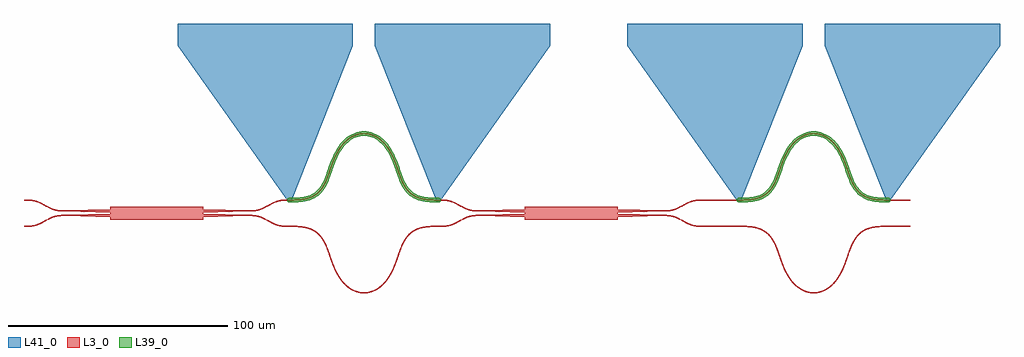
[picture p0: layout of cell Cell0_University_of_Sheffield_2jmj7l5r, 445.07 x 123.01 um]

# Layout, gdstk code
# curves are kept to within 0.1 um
import gdstk
lib = gdstk.Library(unit=1e-6, precision=1e-09)
def R(c, l, rs):  # rectangles x0, y0, x1, y1
    for r in rs: c.add(gdstk.rectangle(r[:2], r[2:], *l))
def P(c, l, *ps):  # polygons
    for p in ps: c.add(gdstk.Polygon(p, *l))
L3_0 = (3, 0)
L39_0 = (39, 0)
L41_0 = (41, 0)

cell0_university_of_shef = lib.new_cell('Cell0_University_of_Sheffield_2jmj7l5r')
P(cell0_university_of_shef, L3_0, [(18.997,37.355),(15.967,37.472),(14.05,37.823),(12.989,38.17),(11.966,38.601),(7.605,40.902),(5.87,41.647),(4.583,42.015),(3.524,42.194),(1.907,42.317),(0,42.34),(0,42.79),(3.027,42.699),(4.13,42.56),(5.221,42.322),(6.282,41.975),(7.305,41.544),(11.666,39.243),(13.401,38.498),(14.688,38.13),(15.747,37.951),(17.364,37.828),(19.271,37.805),(19.496,37.58),(19.271,37.355)],
  [(0,30.34),(0,30.79),(1.907,30.813),(3.524,30.936),(4.583,31.115),(5.87,31.483),(7.605,32.228),(11.966,34.529),(12.989,34.96),(14.05,35.307),(15.415,35.588),(17.071,35.74),(19.271,35.775),(19.496,35.55),(19.271,35.325),(17.364,35.302),(16.015,35.21),(14.688,35),(13.655,34.718),(11.666,33.887),(7.305,31.586),(6.282,31.155),(5.221,30.808),(4.13,30.57),(3.027,30.431)],
  [(394.084,42.34),(393.859,42.565),(394.084,42.79),(404.084,42.79),(404.084,42.34)],
  [(394.084,30.34),(393.859,30.565),(394.084,30.79),(404.084,30.79),(404.084,30.34)],
  [(310.084,30.34),(309.859,30.565),(310.084,30.79),(326.084,30.79),(326.309,30.565),(326.084,30.34)],
  [(310.084,42.34),(309.859,42.565),(310.084,42.79),(326.084,42.79),(326.309,42.565),(326.084,42.34)],
  [(101.771,37.355),(101.546,37.58),(101.771,37.805),(103.678,37.828),(105.295,37.951),(106.354,38.13),(107.641,38.498),(109.376,39.243),(113.737,41.544),(114.76,41.975),(115.821,42.322),(117.186,42.603),(118.843,42.755),(121.042,42.79),(121.267,42.565),(121.042,42.34),(119.135,42.317),(117.786,42.225),(116.459,42.015),(115.426,41.733),(113.437,40.902),(109.076,38.601),(108.053,38.17),(106.992,37.823),(105.901,37.585),(104.799,37.446)],
  [(120.769,30.34),(117.738,30.457),(115.821,30.808),(114.76,31.155),(113.737,31.586),(109.376,33.887),(107.387,34.718),(106.354,35),(105.027,35.21),(103.678,35.302),(101.771,35.325),(101.546,35.55),(101.771,35.775),(103.971,35.74),(105.627,35.588),(106.992,35.307),(108.053,34.96),(109.076,34.529),(113.437,32.228),(115.172,31.483),(116.459,31.115),(117.518,30.936),(119.135,30.813),(121.042,30.79),(121.267,30.565),(121.042,30.34)],
  [(101.771,37.355),(101.546,37.58),(101.771,37.805),(103.678,37.828),(105.295,37.951),(106.354,38.13),(107.641,38.498),(109.376,39.243),(113.737,41.544),(114.76,41.975),(115.821,42.322),(117.186,42.603),(118.843,42.755),(121.042,42.79),(121.267,42.565),(121.042,42.34),(119.135,42.317),(117.786,42.225),(116.459,42.015),(115.426,41.733),(113.437,40.902),(109.076,38.601),(108.053,38.17),(106.992,37.823),(105.901,37.585),(104.799,37.446)],
  [(120.769,30.34),(117.738,30.457),(115.821,30.808),(114.76,31.155),(113.737,31.586),(109.376,33.887),(107.387,34.718),(106.354,35),(105.027,35.21),(103.678,35.302),(101.771,35.325),(101.546,35.55),(101.771,35.775),(103.971,35.74),(105.627,35.588),(106.992,35.307),(108.053,34.96),(109.076,34.529),(113.437,32.228),(115.172,31.483),(116.459,31.115),(117.518,30.936),(119.135,30.813),(121.042,30.79),(121.267,30.565),(121.042,30.34)],
  [(39.271,33.565),(39.271,34.8),(19.271,35.325),(19.046,35.55),(19.271,35.775),(39.271,36.3),(39.271,36.83),(19.271,37.355),(19.046,37.58),(19.271,37.805),(39.271,38.33),(39.271,39.565),(81.771,39.565),(81.771,38.33),(101.771,37.805),(101.996,37.58),(101.771,37.355),(81.771,36.83),(81.771,36.3),(101.771,35.775),(101.996,35.55),(101.771,35.325),(81.771,34.8),(81.771,33.565)],
  [(290.813,37.355),(290.588,37.58),(290.813,37.805),(292.72,37.828),(294.337,37.951),(295.396,38.13),(296.683,38.498),(298.418,39.243),(302.779,41.544),(303.802,41.975),(304.863,42.322),(306.228,42.603),(307.885,42.755),(310.084,42.79),(310.309,42.565),(310.084,42.34),(308.177,42.317),(306.828,42.225),(305.501,42.015),(304.468,41.733),(302.479,40.902),(298.118,38.601),(297.095,38.17),(296.034,37.823),(294.943,37.585),(293.841,37.446)],
  [(309.811,30.34),(306.78,30.457),(304.863,30.808),(303.802,31.155),(302.779,31.586),(298.418,33.887),(296.429,34.718),(295.396,35),(294.069,35.21),(292.72,35.302),(290.813,35.325),(290.588,35.55),(290.813,35.775),(293.013,35.74),(294.669,35.588),(296.034,35.307),(297.095,34.96),(298.118,34.529),(302.479,32.228),(304.214,31.483),(305.501,31.115),(306.56,30.936),(308.177,30.813),(310.084,30.79),(310.309,30.565),(310.084,30.34)],
  [(208.039,37.355),(205.009,37.472),(203.092,37.823),(202.031,38.17),(201.008,38.601),(196.647,40.902),(194.658,41.733),(193.625,42.015),(192.298,42.225),(190.949,42.317),(189.042,42.34),(188.817,42.565),(189.042,42.79),(191.241,42.755),(192.898,42.603),(194.263,42.322),(195.324,41.975),(196.347,41.544),(200.708,39.243),(202.443,38.498),(203.73,38.13),(204.789,37.951),(206.406,37.828),(208.313,37.805),(208.538,37.58),(208.313,37.355)],
  [(189.042,30.34),(188.817,30.565),(189.042,30.79),(190.949,30.813),(192.566,30.936),(193.625,31.115),(194.912,31.483),(196.647,32.228),(201.008,34.529),(202.031,34.96),(203.092,35.307),(204.457,35.588),(206.113,35.74),(208.313,35.775),(208.538,35.55),(208.313,35.325),(206.406,35.302),(205.057,35.21),(203.73,35),(202.697,34.718),(200.708,33.887),(196.347,31.586),(195.324,31.155),(194.263,30.808),(193.172,30.57),(192.069,30.431)],
  [(290.813,37.355),(290.588,37.58),(290.813,37.805),(292.72,37.828),(294.337,37.951),(295.396,38.13),(296.683,38.498),(298.418,39.243),(302.779,41.544),(303.802,41.975),(304.863,42.322),(306.228,42.603),(307.885,42.755),(310.084,42.79),(310.309,42.565),(310.084,42.34),(308.177,42.317),(306.828,42.225),(305.501,42.015),(304.468,41.733),(302.479,40.902),(298.118,38.601),(297.095,38.17),(296.034,37.823),(294.943,37.585),(293.841,37.446)],
  [(309.811,30.34),(306.78,30.457),(304.863,30.808),(303.802,31.155),(302.779,31.586),(298.418,33.887),(296.429,34.718),(295.396,35),(294.069,35.21),(292.72,35.302),(290.813,35.325),(290.588,35.55),(290.813,35.775),(293.013,35.74),(294.669,35.588),(296.034,35.307),(297.095,34.96),(298.118,34.529),(302.479,32.228),(304.214,31.483),(305.501,31.115),(306.56,30.936),(308.177,30.813),(310.084,30.79),(310.309,30.565),(310.084,30.34)],
  [(208.039,37.355),(205.009,37.472),(203.092,37.823),(202.031,38.17),(201.008,38.601),(196.647,40.902),(194.658,41.733),(193.625,42.015),(192.298,42.225),(190.949,42.317),(189.042,42.34),(188.817,42.565),(189.042,42.79),(191.241,42.755),(192.898,42.603),(194.263,42.322),(195.324,41.975),(196.347,41.544),(200.708,39.243),(202.443,38.498),(203.73,38.13),(204.789,37.951),(206.406,37.828),(208.313,37.805),(208.538,37.58),(208.313,37.355)],
  [(189.042,30.34),(188.817,30.565),(189.042,30.79),(190.949,30.813),(192.566,30.936),(193.625,31.115),(194.912,31.483),(196.647,32.228),(201.008,34.529),(202.031,34.96),(203.092,35.307),(204.457,35.588),(206.113,35.74),(208.313,35.775),(208.538,35.55),(208.313,35.325),(206.406,35.302),(205.057,35.21),(203.73,35),(202.697,34.718),(200.708,33.887),(196.347,31.586),(195.324,31.155),(194.263,30.808),(193.172,30.57),(192.069,30.431)],
  [(228.313,33.565),(228.313,34.8),(208.313,35.325),(208.088,35.55),(208.313,35.775),(228.313,36.3),(228.313,36.83),(208.313,37.355),(208.088,37.58),(208.313,37.805),(228.313,38.33),(228.313,39.565),(270.813,39.565),(270.813,38.33),(290.813,37.805),(291.038,37.58),(290.813,37.355),(270.813,36.83),(270.813,36.3),(290.813,35.775),(291.038,35.55),(290.813,35.325),(270.813,34.8),(270.813,33.565)],
  [(121.042,42.34),(120.817,42.565),(121.042,42.79),(123.991,42.824),(125.856,42.939),(127.701,43.187),(129.251,43.544),(130.504,43.963),(131.706,44.507),(132.83,45.187),(133.86,46.006),(134.609,46.749),(135.451,47.765),(136.196,48.86),(136.973,50.25),(138.145,52.938),(140.387,59.271),(141.616,62.27),(142.324,63.731),(143.113,65.153),(144.637,67.399),(145.693,68.644),(146.862,69.787),(148.143,70.804),(149.534,71.671),(151.023,72.36),(152.326,72.779),(153.673,73.04),(155.042,73.13),(156.411,73.04),(157.758,72.779),(159.061,72.36),(160.55,71.671),(161.941,70.804),(163.222,69.787),(164.391,68.644),(165.447,67.399),(166.971,65.153),(167.76,63.731),(168.468,62.27),(169.697,59.271),(171.939,52.938),(173.111,50.25),(173.888,48.86),(174.633,47.765),(175.475,46.749),(176.224,46.006),(177.254,45.187),(178.378,44.507),(179.58,43.963),(181.089,43.473),(182.907,43.099),(184.494,42.915),(186.36,42.816),(189.042,42.79),(189.267,42.565),(189.042,42.34),(185.808,42.384),(183.647,42.546),(181.503,42.908),(179.929,43.355),(178.414,43.984),(177.223,44.664),(176.128,45.49),(175.145,46.443),(174.273,47.495),(173.506,48.622),(172.709,50.046),(171.616,52.525),(169.369,58.862),(168.168,61.839),(166.72,64.694),(165.872,66.047),(165.091,67.123),(164.061,68.338),(162.924,69.449),(161.681,70.436),(160.336,71.275),(158.899,71.94),(157.644,72.343),(156.353,72.594),(155.042,72.68),(153.731,72.594),(152.44,72.343),(151.185,71.94),(149.748,71.275),(148.403,70.436),(147.16,69.449),(146.023,68.338),(144.993,67.123),(144.212,66.047),(143.364,64.694),(141.916,61.839),(140.715,58.862),(138.468,52.525),(137.375,50.046),(136.578,48.622),(135.811,47.495),(135.123,46.646),(134.162,45.672),(133.088,44.817),(131.67,43.984),(130.413,43.447),(128.846,42.971),(127.245,42.655),(125.628,42.467),(123.736,42.366)],
  [(155.042,0),(153.673,0.09),(152.326,0.351),(151.023,0.77),(149.534,1.459),(148.143,2.326),(146.862,3.343),(145.693,4.486),(144.637,5.731),(143.113,7.977),(142.324,9.399),(141.616,10.86),(140.387,13.859),(138.145,20.192),(136.973,22.88),(136.196,24.27),(135.451,25.365),(134.609,26.381),(133.86,27.124),(132.83,27.943),(131.706,28.623),(130.504,29.167),(128.995,29.657),(127.177,30.031),(125.59,30.215),(123.724,30.314),(121.042,30.34),(120.817,30.565),(121.042,30.79),(124.276,30.746),(126.437,30.584),(128.581,30.222),(130.155,29.775),(131.67,29.146),(132.861,28.466),(133.956,27.64),(134.939,26.687),(135.811,25.635),(136.578,24.508),(137.375,23.084),(138.468,20.605),(140.715,14.268),(141.916,11.291),(143.364,8.436),(144.212,7.083),(144.993,6.007),(146.023,4.792),(147.16,3.681),(148.403,2.694),(149.748,1.855),(151.185,1.19),(152.44,0.787),(153.731,0.536),(155.042,0.45),(156.353,0.536),(157.644,0.787),(158.899,1.19),(160.336,1.855),(161.681,2.694),(162.924,3.681),(164.061,4.792),(165.091,6.007),(165.872,7.083),(166.72,8.436),(168.168,11.291),(169.369,14.268),(171.616,20.605),(172.709,23.084),(173.506,24.508),(174.273,25.635),(174.961,26.484),(175.922,27.458),(176.996,28.313),(178.414,29.146),(179.671,29.683),(181.238,30.159),(182.839,30.475),(184.456,30.663),(186.348,30.764),(189.042,30.79),(189.267,30.565),(189.042,30.34),(186.093,30.306),(184.228,30.191),(182.383,29.943),(180.833,29.586),(179.58,29.167),(178.378,28.623),(177.254,27.943),(176.224,27.124),(175.475,26.381),(174.633,25.365),(173.888,24.27),(173.111,22.88),(171.939,20.192),(169.697,13.859),(168.468,10.86),(167.76,9.399),(166.971,7.977),(165.447,5.731),(164.391,4.486),(163.222,3.343),(161.941,2.326),(160.55,1.459),(159.061,0.77),(157.758,0.351),(156.411,0.09)],
  [(326.084,42.34),(325.859,42.565),(326.084,42.79),(329.033,42.824),(330.898,42.939),(332.743,43.187),(334.293,43.544),(335.546,43.963),(336.748,44.507),(337.872,45.187),(338.902,46.006),(339.651,46.749),(340.493,47.765),(341.238,48.86),(342.015,50.25),(343.187,52.938),(345.429,59.271),(346.658,62.27),(347.366,63.731),(348.155,65.153),(349.679,67.399),(350.735,68.644),(351.904,69.787),(353.185,70.804),(354.576,71.671),(356.065,72.36),(357.368,72.779),(358.715,73.04),(360.084,73.13),(361.453,73.04),(362.8,72.779),(364.103,72.36),(365.592,71.671),(366.983,70.804),(368.264,69.787),(369.433,68.644),(370.489,67.399),(372.013,65.153),(372.802,63.731),(373.51,62.27),(374.739,59.271),(376.981,52.938),(378.153,50.25),(378.93,48.86),(379.675,47.765),(380.517,46.749),(381.266,46.006),(382.296,45.187),(383.42,44.507),(384.622,43.963),(386.131,43.473),(387.949,43.099),(389.536,42.915),(391.402,42.816),(394.084,42.79),(394.309,42.565),(394.084,42.34),(390.85,42.384),(388.689,42.546),(386.545,42.908),(384.971,43.355),(383.456,43.984),(382.265,44.664),(381.17,45.49),(380.187,46.443),(379.315,47.495),(378.548,48.622),(377.751,50.046),(376.658,52.525),(374.411,58.862),(373.21,61.839),(371.762,64.694),(370.914,66.047),(370.133,67.123),(369.103,68.338),(367.966,69.449),(366.723,70.436),(365.378,71.275),(363.941,71.94),(362.686,72.343),(361.395,72.594),(360.084,72.68),(358.773,72.594),(357.482,72.343),(356.227,71.94),(354.79,71.275),(353.445,70.436),(352.202,69.449),(351.065,68.338),(350.035,67.123),(349.254,66.047),(348.406,64.694),(346.958,61.839),(345.757,58.862),(343.51,52.525),(342.417,50.046),(341.62,48.622),(340.853,47.495),(340.165,46.646),(339.204,45.672),(338.13,44.817),(336.712,43.984),(335.455,43.447),(333.888,42.971),(332.287,42.655),(330.67,42.467),(328.778,42.366)],
  [(360.084,0),(358.715,0.09),(357.368,0.351),(356.065,0.77),(354.576,1.459),(353.185,2.326),(351.904,3.343),(350.735,4.486),(349.679,5.731),(348.155,7.977),(347.366,9.399),(346.658,10.86),(345.429,13.859),(343.187,20.192),(342.015,22.88),(341.238,24.27),(340.493,25.365),(339.651,26.381),(338.902,27.124),(337.872,27.943),(336.748,28.623),(335.546,29.167),(334.037,29.657),(332.219,30.031),(330.632,30.215),(328.766,30.314),(326.084,30.34),(325.859,30.565),(326.084,30.79),(329.318,30.746),(331.479,30.584),(333.623,30.222),(335.197,29.775),(336.712,29.146),(337.903,28.466),(338.998,27.64),(339.981,26.687),(340.853,25.635),(341.62,24.508),(342.417,23.084),(343.51,20.605),(345.757,14.268),(346.958,11.291),(348.406,8.436),(349.254,7.083),(350.035,6.007),(351.065,4.792),(352.202,3.681),(353.445,2.694),(354.79,1.855),(356.227,1.19),(357.482,0.787),(358.773,0.536),(360.084,0.45),(361.395,0.536),(362.686,0.787),(363.941,1.19),(365.378,1.855),(366.723,2.694),(367.966,3.681),(369.103,4.792),(370.133,6.007),(370.914,7.083),(371.762,8.436),(373.21,11.291),(374.411,14.268),(376.658,20.605),(377.751,23.084),(378.548,24.508),(379.315,25.635),(380.003,26.484),(380.964,27.458),(382.038,28.313),(383.456,29.146),(384.713,29.683),(386.28,30.159),(387.881,30.475),(389.498,30.663),(391.39,30.764),(394.084,30.79),(394.309,30.565),(394.084,30.34),(391.135,30.306),(389.27,30.191),(387.425,29.943),(385.875,29.586),(384.622,29.167),(383.42,28.623),(382.296,27.943),(381.266,27.124),(380.517,26.381),(379.675,25.365),(378.93,24.27),(378.153,22.88),(376.981,20.192),(374.739,13.859),(373.51,10.86),(372.802,9.399),(372.013,7.977),(370.489,5.731),(369.433,4.486),(368.264,3.343),(366.983,2.326),(365.592,1.459),(364.103,0.77),(362.8,0.351),(361.453,0.09)])
P(cell0_university_of_shef, L39_0, [(121.042,41.565),(121.042,43.565),(125.937,43.726),(128.737,44.208),(131.327,45.185),(133.535,46.762),(134.758,48.135),(136.245,50.528),(137.406,53.177),(139.746,59.768),(140.916,62.602),(142.333,65.358),(144.088,67.955),(146.246,70.276),(148.832,72.166),(151.807,73.44),(153.946,73.851),(155.042,73.906),(156.138,73.851),(158.277,73.44),(161.252,72.166),(163.838,70.276),(165.996,67.955),(167.751,65.358),(169.168,62.602),(170.338,59.768),(172.678,53.177),(173.839,50.528),(175.326,48.135),(176.549,46.762),(178.757,45.185),(181.347,44.208),(184.147,43.726),(189.042,43.565),(189.042,41.565),(184.979,41.652),(181.874,42.037),(179.817,42.575),(177.83,43.411),(175.996,44.595),(173.736,46.92),(172.059,49.615),(170.811,52.459),(168.467,59.059),(167.349,61.771),(166.023,64.348),(164.423,66.719),(162.501,68.787),(160.252,70.432),(157.726,71.515),(155.042,71.904),(152.358,71.515),(149.832,70.432),(147.583,68.787),(145.661,66.719),(144.061,64.348),(142.735,61.771),(141.617,59.059),(139.273,52.459),(138.025,49.615),(136.348,46.92),(134.912,45.31),(133.198,43.959),(132.254,43.411),(129.243,42.272),(126.137,41.735)],
  [(121.025,41.565),(120.323,41.87),(120.042,42.582),(120.347,43.284),(121.059,43.565),(121.761,43.26),(122.042,42.548),(121.737,41.846)],
  [(189.025,41.565),(188.323,41.87),(188.042,42.582),(188.347,43.284),(189.059,43.565),(189.761,43.26),(190.042,42.548),(189.737,41.846)],
  [(326.084,41.565),(326.084,43.565),(330.979,43.726),(333.779,44.208),(336.369,45.185),(338.577,46.762),(339.8,48.135),(341.287,50.528),(342.448,53.177),(344.788,59.768),(345.958,62.602),(347.375,65.358),(349.13,67.955),(351.288,70.276),(353.874,72.166),(356.849,73.44),(358.988,73.851),(360.084,73.906),(361.18,73.851),(363.319,73.44),(366.294,72.166),(368.88,70.276),(371.038,67.955),(372.793,65.358),(374.21,62.602),(375.38,59.768),(377.72,53.177),(378.881,50.528),(380.368,48.135),(381.591,46.762),(383.799,45.185),(386.389,44.208),(389.189,43.726),(394.084,43.565),(394.084,41.565),(390.021,41.652),(386.916,42.037),(384.859,42.575),(382.872,43.411),(381.038,44.595),(378.778,46.92),(377.101,49.615),(375.853,52.459),(373.509,59.059),(372.391,61.771),(371.065,64.348),(369.465,66.719),(367.543,68.787),(365.294,70.432),(362.768,71.515),(360.084,71.904),(357.4,71.515),(354.874,70.432),(352.625,68.787),(350.703,66.719),(349.103,64.348),(347.777,61.771),(346.659,59.059),(344.315,52.459),(343.067,49.615),(341.39,46.92),(339.954,45.31),(338.24,43.959),(337.296,43.411),(334.285,42.272),(331.179,41.735)],
  [(326.067,41.565),(325.365,41.87),(325.084,42.582),(325.389,43.284),(326.101,43.565),(326.803,43.26),(327.084,42.548),(326.779,41.846)],
  [(394.067,41.565),(393.365,41.87),(393.084,42.582),(393.389,43.284),(394.101,43.565),(394.803,43.26),(395.084,42.548),(394.779,41.846)])
R(cell0_university_of_shef, L41_0, [(70.025,113.007,150.025,123.007), (160.025,113.007,240.025,123.007), (275.067,113.007,355.067,123.007), (365.067,113.007,445.067,123.007)])
P(cell0_university_of_shef, L41_0, [(120.008,42.565),(70.025,113.007),(150.025,113.007),(122.008,42.565)],
  [(188.042,42.565),(160.025,113.007),(240.025,113.007),(190.042,42.565)],
  [(325.05,42.565),(275.067,113.007),(355.067,113.007),(327.05,42.565)],
  [(393.084,42.565),(365.067,113.007),(445.067,113.007),(395.084,42.565)],
  [(121.025,41.565),(120.33,41.846),(120.025,42.548),(120.306,43.26),(121.008,43.565),(121.72,43.284),(122.025,42.582),(121.744,41.87)],
  [(121.025,41.565),(120.323,41.87),(120.042,42.582),(120.347,43.284),(121.059,43.565),(121.761,43.26),(122.042,42.548),(121.737,41.846)],
  [(326.067,41.565),(325.365,41.87),(325.084,42.582),(325.389,43.284),(326.101,43.565),(326.803,43.26),(327.084,42.548),(326.779,41.846)],
  [(189.025,41.565),(188.323,41.87),(188.042,42.582),(188.347,43.284),(189.059,43.565),(189.761,43.26),(190.042,42.548),(189.737,41.846)],
  [(326.067,41.565),(325.365,41.87),(325.084,42.582),(325.389,43.284),(326.101,43.565),(326.803,43.26),(327.084,42.548),(326.779,41.846)],
  [(394.067,41.565),(393.365,41.87),(393.084,42.582),(393.389,43.284),(394.101,43.565),(394.803,43.26),(395.084,42.548),(394.779,41.846)],
  [(189.008,41.565),(188.306,41.87),(188.025,42.582),(188.33,43.284),(189.042,43.565),(189.744,43.26),(190.025,42.548),(189.72,41.846)],
  [(326.05,41.565),(325.348,41.87),(325.067,42.582),(325.372,43.284),(326.084,43.565),(326.786,43.26),(327.067,42.548),(326.762,41.846)],
  [(394.05,41.565),(393.348,41.87),(393.067,42.582),(393.372,43.284),(394.084,43.565),(394.786,43.26),(395.067,42.548),(394.762,41.846)],
  [(326.05,41.565),(325.348,41.87),(325.067,42.582),(325.372,43.284),(326.084,43.565),(326.786,43.26),(327.067,42.548),(326.762,41.846)])

lib.write_gds('Cell0_University_of_Sheffield_2jmj7l5r.gds')
